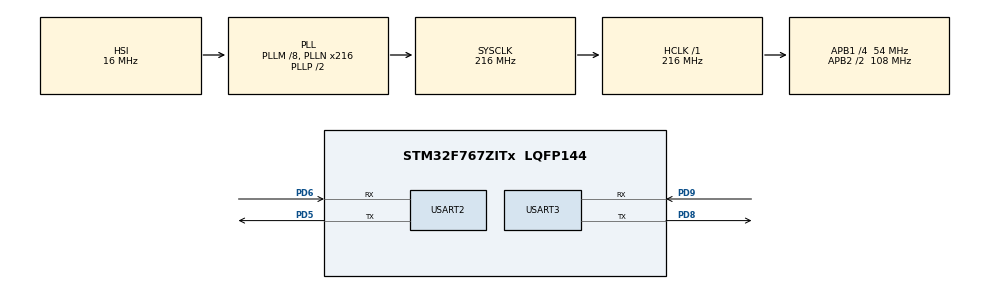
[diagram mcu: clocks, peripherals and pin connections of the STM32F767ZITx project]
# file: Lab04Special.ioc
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Mcu.Family=STM32F7
Mcu.Name=STM32F767ZITx
Mcu.Package=LQFP144
NVIC.PriorityGroup=NVIC_PRIORITYGROUP_4
NVIC.USART2_IRQn=true\:0\:0\:false\:false\:true\:true\:true\:true
NVIC.USART3_IRQn=true\:0\:0\:false\:false\:true\:true\:true\:true
PD5.Mode=Asynchronous
PD5.Signal=USART2_TX
PD6.Mode=Asynchronous
PD6.Signal=USART2_RX
PD8.Mode=Asynchronous
PD8.Signal=USART3_TX
PD9.Mode=Asynchronous
PD9.Signal=USART3_RX
ProjectManager.HeapSize=0x200
ProjectManager.StackSize=0x400
ProjectManager.TargetToolchain=STM32CubeIDE
RCC.AHBFreq_Value=216000000
RCC.APB1CLKDivider=RCC_HCLK_DIV4
RCC.APB1Freq_Value=54000000
RCC.APB1TimFreq_Value=108000000
RCC.APB2CLKDivider=RCC_HCLK_DIV2
RCC.APB2Freq_Value=108000000
RCC.APB2TimFreq_Value=216000000
RCC.CortexFreq_Value=216000000
RCC.HCLKFreq_Value=216000000
RCC.HSE_VALUE=25000000
RCC.HSI_VALUE=16000000
RCC.LSE_VALUE=32768
RCC.PLLM=8
RCC.PLLN=216
RCC.SYSCLKFreq_VALUE=216000000
RCC.SYSCLKSource=RCC_SYSCLKSOURCE_PLLCLK
RCC.USBFreq_Value=216000000
RCC.VCOOutputFreq_Value=432000000
USART2.VirtualMode-Asynchronous=VM_ASYNC
USART3.VirtualMode-Asynchronous=VM_ASYNC
board=custom

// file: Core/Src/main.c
/* USER CODE BEGIN Header */
/**
  ******************************************************************************
  * @file           : main.c
  * @brief          : Main program body
  ******************************************************************************
  * @attention
  *
  * Copyright (c) 2023 STMicroelectronics.
  * All rights reserved.
  *
  * This software is licensed under terms that can be found in the LICENSE file
  * in the root directory of this software component.
  * If no LICENSE file comes with this software, it is provided AS-IS.
  *
  ******************************************************************************
  */
/* USER CODE END Header */
#include "main.h"
#include "usart.h"
#include "gpio.h"

/* USER CODE BEGIN PV */
// char ch1 = '.' ;
char helloMsg[] = "Man from U.A.R.T.2!\r\nQuit PRESS q\r\n",ch1,name[100],sendBuffer[100],revBuffer[100];
int state=0,isSend=0,sendName=0,indexName=0,indexBuffer=0,checkRecv=0;
/* USER CODE END PV */

void SystemClock_Config(void);

int main(void)
{

  /* MCU Configuration--------------------------------------------------------*/

  /* Reset of all peripherals, Initializes the Flash interface and the Systick. */
  HAL_Init();

  /* Configure the system clock */
  SystemClock_Config();

  /* Initialize all configured peripherals */
  MX_GPIO_Init();
  MX_USART2_UART_Init();
  MX_USART3_UART_Init();
  /* USER CODE BEGIN 2 */
  HAL_UART_Receive_IT(&huart3,(uint8_t*) &ch1,1);
  HAL_UART_Transmit(&huart3,(uint8_t*) helloMsg, strlen(helloMsg),1000);
  /* USER CODE END 2 */

  /* Infinite loop */
  while (1)
  {

    /* USER CODE BEGIN 3 */
//     HAL_UART_Transmit(&huart3, (uint8_t*) &ch1, 1, 1000);
// HAL_Delay(400);
	  if(state==0&&isSend==1&&sendName==0){
		  while(__HAL_UART_GET_FLAG(&huart3,UART_FLAG_TC)==RESET){}
		  HAL_UART_Transmit(&huart3,(uint8_t*) "Name: ", strlen("Name: "),1000);
		  sendName=1;
	  }
	  if(isSend==0){
		  while(__HAL_UART_GET_FLAG(&huart2,UART_FLAG_RXNE)==RESET){}
		  HAL_UART_Receive(&huart2,(uint8_t*) revBuffer, 100,1000);
		  if(revBuffer[0]=='q'&&strlen(revBuffer)==1){
		  state=2;
		  while(__HAL_UART_GET_FLAG(&huart3,UART_FLAG_TC)==RESET){}
		  HAL_UART_Transmit(&huart3,(uint8_t*) "Program ended from U.A.R.T.1", strlen("Program ended from U.A.R.T.1"),1000);
		  }
		  else{
			  while(__HAL_UART_GET_FLAG(&huart3,UART_FLAG_TC)==RESET){}
			  HAL_UART_Transmit(&huart3,(uint8_t*) revBuffer, strlen(revBuffer),1000);
			  while(__HAL_UART_GET_FLAG(&huart3,UART_FLAG_TC)==RESET){}
			  HAL_UART_Transmit(&huart3,(uint8_t*) "\t", 1,1000);
			  while(__HAL_UART_GET_FLAG(&huart3,UART_FLAG_TC)==RESET){}
			  HAL_UART_Transmit(&huart3,(uint8_t*) name, strlen(name),1000);
			  if(checkRecv==0){
			      checkRecv=1;
			  }
			  else{
			   while(__HAL_UART_GET_FLAG(&huart3,UART_FLAG_TC)==RESET){}
			   HAL_UART_Transmit(&huart3,(uint8_t*) " => ", strlen(" => "),1000);
			     }
			    isSend=1;
			     memset(revBuffer,0,strlen(revBuffer));
		  }
	  }
	  HAL_Delay(1000);

  }
  /* USER CODE END 3 */
}

void SystemClock_Config(void)
{
  RCC_OscInitTypeDef RCC_OscInitStruct = {0};
  RCC_ClkInitTypeDef RCC_ClkInitStruct = {0};

  /** Configure the main internal regulator output voltage
  */
  __HAL_RCC_PWR_CLK_ENABLE();
  __HAL_PWR_VOLTAGESCALING_CONFIG(PWR_REGULATOR_VOLTAGE_SCALE1);

  /** Initializes the RCC Oscillators according to the specified parameters
  * in the RCC_OscInitTypeDef structure.
  */
  RCC_OscInitStruct.OscillatorType = RCC_OSCILLATORTYPE_HSI;
  RCC_OscInitStruct.HSIState = RCC_HSI_ON;
  RCC_OscInitStruct.HSICalibrationValue = RCC_HSICALIBRATION_DEFAULT;
  RCC_OscInitStruct.PLL.PLLState = RCC_PLL_ON;
  RCC_OscInitStruct.PLL.PLLSource = RCC_PLLSOURCE_HSI;
  RCC_OscInitStruct.PLL.PLLM = 8;
  RCC_OscInitStruct.PLL.PLLN = 216;
  RCC_OscInitStruct.PLL.PLLP = RCC_PLLP_DIV2;
  RCC_OscInitStruct.PLL.PLLQ = 2;
  RCC_OscInitStruct.PLL.PLLR = 2;
  if (HAL_RCC_OscConfig(&RCC_OscInitStruct) != HAL_OK)
  {
    Error_Handler();
  }

  /** Activate the Over-Drive mode
  */
  if (HAL_PWREx_EnableOverDrive() != HAL_OK)
  {
    Error_Handler();
  }

  /** Initializes the CPU, AHB and APB buses clocks
  */
  RCC_ClkInitStruct.ClockType = RCC_CLOCKTYPE_HCLK|RCC_CLOCKTYPE_SYSCLK
                              |RCC_CLOCKTYPE_PCLK1|RCC_CLOCKTYPE_PCLK2;
  RCC_ClkInitStruct.SYSCLKSource = RCC_SYSCLKSOURCE_PLLCLK;
  RCC_ClkInitStruct.AHBCLKDivider = RCC_SYSCLK_DIV1;
  RCC_ClkInitStruct.APB1CLKDivider = RCC_HCLK_DIV4;
  RCC_ClkInitStruct.APB2CLKDivider = RCC_HCLK_DIV2;

  if (HAL_RCC_ClockConfig(&RCC_ClkInitStruct, FLASH_LATENCY_7) != HAL_OK)
  {
    Error_Handler();
  }
}

/* USER CODE BEGIN 4 */
// void HAL_GPIO_EXTI_Callback(uint16_t GPIO_Pin){
// 	if(GPIO_Pin == GPIO_PIN_0)
// 	{
// 		HAL_Delay(250);
// 		HAL_GPIO_WritePin(GPIOB ,GPIO_PIN_0,!HAL_GPIO_ReadPin(GPIOB,GPIO_PIN_0));
// 		HAL_UART_Transmit(&huart3, (uint8_t *) "---", 3,100);
// 		for(int i=0; i<20;i++){
// 			HAL_UART_Transmit(&huart3, (uint8_t *) "E", 1,100);
// 			HAL_Delay(200);
// 		}
// 	}
// }
void HAL_UART_RxCpltCallback(UART_HandleTypeDef *huart)
{
  if(huart==&huart3){
	  HAL_UART_Receive_IT(&huart3,(uint8_t*) &ch1,1);
	  if(isSend==1)
	  {
		  if(state==0){
			  while(__HAL_UART_GET_FLAG(&huart3,UART_FLAG_TC)==RESET){}
			  HAL_UART_Transmit(&huart3,(uint8_t*) &ch1, 1,1000);
			  if(ch1==13){
				 while(__HAL_UART_GET_FLAG(&huart3,UART_FLAG_TC)==RESET){}
				 HAL_UART_Transmit(&huart3,(uint8_t*) "\r\n", strlen("\r\n"),1000);
				 while(__HAL_UART_GET_FLAG(&huart2,UART_FLAG_TC)==RESET){}
				 HAL_UART_Transmit(&huart2,(uint8_t*) "\t", 1,1000);
				 while(__HAL_UART_GET_FLAG(&huart2,UART_FLAG_TC)==RESET){}
				 HAL_UART_Transmit(&huart2,(uint8_t*) name, strlen(name),1000);
				 while(__HAL_UART_GET_FLAG(&huart2,UART_FLAG_TC)==RESET){}
				 HAL_UART_Transmit(&huart2,(uint8_t*) " is ready\r\n", strlen(" is ready\r\n"),1000);
				 isSend=0;
				 state=1;
				 sendName=0;
			  }
			  else{
				  name[indexName++]=ch1;
			  }
		  }
		  else if(state==1){
			  HAL_UART_Transmit(&huart3,(uint8_t*) &ch1, 1,1000);
			  if(ch1==13){
				  while(__HAL_UART_GET_FLAG(&huart3,UART_FLAG_TC)==RESET){}
				  HAL_UART_Transmit(&huart3,(uint8_t*) "\r\n", strlen("\r\n"),1000);

				  if(sendBuffer[0]=='q'&&indexBuffer==1){
					  while(__HAL_UART_GET_FLAG(&huart3,UART_FLAG_TC)==RESET){}
					  HAL_UART_Transmit(&huart3,(uint8_t*) "Program ended", strlen("Program ended"),1000);
					  while(__HAL_UART_GET_FLAG(&huart3,UART_FLAG_TC)==RESET){}
					  HAL_UART_Transmit(&huart2,(uint8_t*) "q", 1,1000);
					  state=2;

				  }else{
					  while(__HAL_UART_GET_FLAG(&huart2,UART_FLAG_TC)==RESET){}
					  HAL_UART_Transmit(&huart2,(uint8_t*) "\t", 1,1000);
					  while(__HAL_UART_GET_FLAG(&huart2,UART_FLAG_TC)==RESET){}
					  HAL_UART_Transmit(&huart2,(uint8_t*) name, strlen(name),1000);
					  while(__HAL_UART_GET_FLAG(&huart2,UART_FLAG_TC)==RESET){}
					  HAL_UART_Transmit(&huart2,(uint8_t*) " : ", strlen(" : "),1000);
					  while(__HAL_UART_GET_FLAG(&huart2,UART_FLAG_TC)==RESET){}
					  HAL_UART_Transmit(&huart2,(uint8_t*) sendBuffer, strlen(sendBuffer),1000);
					  while(__HAL_UART_GET_FLAG(&huart2,UART_FLAG_TC)==RESET){}
					  HAL_UART_Transmit(&huart2,(uint8_t*) "\r\n", strlen("\r\n"),1000);
					  indexBuffer=0;
					  memset(sendBuffer,0,strlen(sendBuffer));
					  isSend=0;

				  }

			  }else{
				  sendBuffer[indexBuffer++]=ch1;
			  }

	  }
	  }

  }
}
/* USER CODE END 4 */

void Error_Handler(void)
{
  __disable_irq();
  while (1)
  {
  }
}
